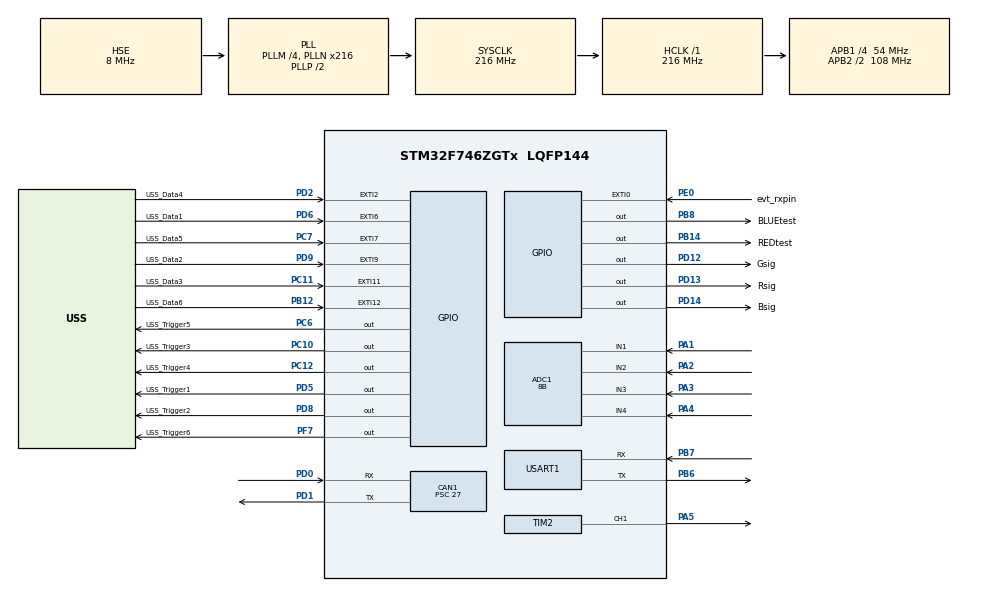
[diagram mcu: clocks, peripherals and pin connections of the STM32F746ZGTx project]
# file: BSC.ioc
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ADC1.Channel-1\#ChannelRegularConversion=ADC_CHANNEL_1
ADC1.Channel-10\#ChannelRegularConversion=ADC_CHANNEL_4
ADC1.Channel-8\#ChannelRegularConversion=ADC_CHANNEL_2
ADC1.Channel-9\#ChannelRegularConversion=ADC_CHANNEL_3
ADC1.ContinuousConvMode=DISABLE
ADC1.DMAContinuousRequests=DISABLE
ADC1.DiscontinuousConvMode=ENABLE
ADC1.EOCSelection=ADC_EOC_SINGLE_CONV
ADC1.InjNumberOfConversion=0
ADC1.NbrOfConversion=4
ADC1.NbrOfConversionFlag=1
ADC1.NbrOfDiscConversion=1
ADC1.Rank-1\#ChannelRegularConversion=1
ADC1.Rank-10\#ChannelRegularConversion=4
ADC1.Rank-8\#ChannelRegularConversion=2
ADC1.Rank-9\#ChannelRegularConversion=3
ADC1.Resolution=ADC_RESOLUTION_8B
ADC1.SamplingTime-1\#ChannelRegularConversion=ADC_SAMPLETIME_15CYCLES
ADC1.SamplingTime-10\#ChannelRegularConversion=ADC_SAMPLETIME_15CYCLES
ADC1.SamplingTime-8\#ChannelRegularConversion=ADC_SAMPLETIME_15CYCLES
ADC1.SamplingTime-9\#ChannelRegularConversion=ADC_SAMPLETIME_15CYCLES
ADC1.ScanConvMode=ADC_SCAN_ENABLE
ADC1.master=1
CAN1.ABOM=ENABLE
CAN1.BS1=CAN_BS1_2TQ
CAN1.CalculateBaudRate=500000
CAN1.CalculateTimeBit=2000
CAN1.CalculateTimeQuantum=500.0
CAN1.NART=ENABLE
CAN1.Prescaler=27
Mcu.Family=STM32F7
Mcu.Name=STM32F746ZGTx
Mcu.Package=LQFP144
NVIC.CAN1_RX0_IRQn=true\:0\:0\:false\:false\:true\:true\:true\:true
NVIC.EXTI15_10_IRQn=true\:0\:0\:false\:false\:true\:true\:true\:true
NVIC.EXTI9_5_IRQn=true\:0\:0\:false\:false\:true\:true\:true\:true
NVIC.PriorityGroup=NVIC_PRIORITYGROUP_4
NVIC.TIM1_BRK_TIM9_IRQn=true\:0\:0\:false\:false\:true\:true\:true\:true
NVIC.TIM5_IRQn=true\:0\:0\:false\:false\:true\:true\:true\:true
NVIC.TIM6_DAC_IRQn=true\:0\:0\:false\:false\:true\:true\:true\:true
NVIC.TIM7_IRQn=true\:0\:0\:false\:false\:true\:true\:true\:true
NVIC.TIM8_TRG_COM_TIM14_IRQn=true\:0\:0\:false\:false\:true\:true\:true\:true
PA1.GPIO_Mode=GPIO_MODE_ANALOG
PA1.GPIO_PuPd=GPIO_NOPULL
PA1.Signal=ADCx_IN1
PA13.Mode=Trace_Asynchronous_SW
PA13.Signal=SYS_JTMS-SWDIO
PA14.Mode=Trace_Asynchronous_SW
PA14.Signal=SYS_JTCK-SWCLK
PA2.GPIO_PuPd=GPIO_NOPULL
PA2.Signal=ADCx_IN2
PA3.GPIO_Mode=GPIO_MODE_ANALOG
PA3.Signal=ADCx_IN3
PA4.GPIO_Mode=GPIO_MODE_ANALOG
PA4.Signal=ADCx_IN4
PA5.Signal=S_TIM2_CH1_ETR
PB12.GPIO_Label=USS_Data6
PB12.GPIO_PuPd=GPIO_PULLUP
PB12.Signal=GPXTI12
PB14.GPIO_Label=REDtest
PB14.Signal=GPIO_Output
PB3.Mode=Trace_Asynchronous_SW
PB3.Signal=SYS_JTDO-SWO
PB6.Mode=Asynchronous
PB6.Signal=USART1_TX
PB7.Mode=Asynchronous
PB7.Signal=USART1_RX
PB8.GPIO_Label=BLUEtest
PB8.Signal=GPIO_Output
PC10.GPIO_Label=USS_Trigger3
PC10.Signal=GPIO_Output
PC11.GPIO_Label=USS_Data3
PC11.GPIO_PuPd=GPIO_PULLUP
PC11.Signal=GPXTI11
PC12.GPIO_Label=USS_Trigger4
PC12.Signal=GPIO_Output
PC6.GPIO_Label=USS_Trigger5
PC6.Signal=GPIO_Output
PC7.GPIO_Label=USS_Data5
PC7.GPIO_PuPd=GPIO_PULLUP
PC7.Signal=GPXTI7
PD0.Mode=CAN_Activate
PD0.Signal=CAN1_RX
PD1.Mode=CAN_Activate
PD1.Signal=CAN1_TX
PD12.GPIO_Label=Gsig
PD12.Signal=GPIO_Output
PD13.GPIO_Label=Rsig
PD13.Signal=GPIO_Output
PD14.GPIO_Label=Bsig
PD14.Signal=GPIO_Output
PD2.GPIO_Label=USS_Data4
PD2.GPIO_PuPd=GPIO_PULLUP
PD2.Signal=GPXTI2
PD5.GPIO_Label=USS_Trigger1
PD5.Signal=GPIO_Output
PD6.GPIO_Label=USS_Data1
PD6.GPIO_ModeDefaultEXTI=GPIO_MODE_IT_RISING
PD6.GPIO_PuPd=GPIO_PULLUP
PD6.Signal=GPXTI6
PD8.GPIO_Label=USS_Trigger2
PD8.Signal=GPIO_Output
PD9.GPIO_Label=USS_Data2
PD9.GPIO_PuPd=GPIO_PULLUP
PD9.Signal=GPXTI9
PE0.GPIO_Label=evt_rxpin
PE0.GPIO_ModeDefaultEXTI=GPIO_MODE_IT_RISING_FALLING
PE0.GPIO_PuPd=GPIO_PULLUP
PE0.Signal=GPXTI0
PF7.GPIO_Label=USS_Trigger6
PF7.Signal=GPIO_Output
PH0/OSC_IN.Mode=HSE-External-Clock-Source
PH0/OSC_IN.Signal=RCC_OSC_IN
PH1/OSC_OUT.Mode=HSE-External-Clock-Source
PH1/OSC_OUT.Signal=RCC_OSC_OUT
ProjectManager.HeapSize=0x200
ProjectManager.StackSize=0x400
ProjectManager.TargetToolchain=STM32CubeIDE
RCC.AHBFreq_Value=216000000
RCC.APB1CLKDivider=RCC_HCLK_DIV4
RCC.APB1Freq_Value=54000000
RCC.APB1TimFreq_Value=108000000
RCC.APB2CLKDivider=RCC_HCLK_DIV2
RCC.APB2Freq_Value=108000000
RCC.APB2TimFreq_Value=216000000
RCC.CortexFreq_Value=216000000
RCC.HCLKFreq_Value=216000000
RCC.HSE_VALUE=8000000
RCC.HSI_VALUE=16000000
RCC.LSE_VALUE=32768
RCC.PLLI2SN=50
RCC.PLLM=4
RCC.PLLN=216
RCC.PLLSAIN=50
RCC.PLLSourceVirtual=RCC_PLLSOURCE_HSE
RCC.RTCClockSelection=RCC_RTCCLKSOURCE_LSE
RCC.SYSCLKFreq_VALUE=216000000
RCC.SYSCLKSource=RCC_SYSCLKSOURCE_PLLCLK
RCC.USBFreq_Value=216000000
RCC.VCOOutputFreq_Value=432000000
SH.ADCx_IN1.0=ADC1_IN1,IN1
SH.ADCx_IN2.0=ADC1_IN2,IN2
SH.ADCx_IN3.0=ADC1_IN3,IN3
SH.ADCx_IN4.0=ADC1_IN4,IN4
SH.S_TIM2_CH1_ETR.0=TIM2_CH1,PWM Generation1 CH1
TIM14.Period=4-1
TIM14.Prescaler=108-1
TIM2.Channel-PWM\ Generation1\ CH1=TIM_CHANNEL_1
TIM2.Period=105-1
TIM2.Prescaler=27-1
TIM2.Pulse-PWM\ Generation1\ CH1=52-1
TIM5.ClockDivision=TIM_CLOCKDIVISION_DIV1
TIM5.Period=100-1
TIM5.Prescaler=54-1
TIM6.Period=10000-1
TIM6.Prescaler=108-1
TIM7.Period=1000-1
TIM7.Prescaler=108-1
TIM9.Period=562-1
TIM9.Prescaler=216-1
USART1.VirtualMode-Asynchronous=VM_ASYNC
VP_TIM14_VS_ClockSourceINT.Mode=Enable_Timer
VP_TIM2_VS_ClockSourceINT.Mode=Internal
VP_TIM5_VS_ClockSourceINT.Mode=Internal
VP_TIM6_VS_ClockSourceINT.Mode=Enable_Timer
VP_TIM7_VS_ClockSourceINT.Mode=Enable_Timer
VP_TIM9_VS_ClockSourceINT.Mode=Internal
board=custom

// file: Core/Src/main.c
/* USER CODE BEGIN Header */
/**
  ******************************************************************************
  * @file           : main.c
  * @brief          : Main program body
  ******************************************************************************
  * @attention
  *
  * Copyright (c) 2022 STMicroelectronics.
  * All rights reserved.
  *
  * This software is licensed under terms that can be found in the LICENSE file
  * in the root directory of this software component.
  * If no LICENSE file comes with this software, it is provided AS-IS.
  *
  ******************************************************************************
  */
/* USER CODE END Header */
#include "main.h"

/* USER CODE BEGIN Includes */
#include "SCI_bottom.h"
/* USER CODE END Includes */

/* USER CODE BEGIN PM */
  uint16_t FDval[4]={0,};
/* USER CODE END PM */

 ADC_HandleTypeDef hadc1;

CAN_HandleTypeDef hcan1;

TIM_HandleTypeDef htim2;
TIM_HandleTypeDef htim5;
TIM_HandleTypeDef htim6;
TIM_HandleTypeDef htim7;
TIM_HandleTypeDef htim9;
TIM_HandleTypeDef htim14;

UART_HandleTypeDef huart1;

void SystemClock_Config(void);
static void MX_GPIO_Init(void);
static void MX_USART1_UART_Init(void);
static void MX_CAN1_Init(void);
static void MX_TIM2_Init(void);
static void MX_TIM6_Init(void);
static void MX_TIM7_Init(void);
static void MX_TIM5_Init(void);
static void MX_TIM14_Init(void);
static void MX_TIM9_Init(void);
static void MX_ADC1_Init(void);

/* USER CODE BEGIN 0 */
///for printf, must declare in main.c/////
int _write(int file, char *ptr, int len)
{
	HAL_UART_Transmit(&huart1, (uint8_t *)ptr, (uint16_t)len, 100);
	return (len);
}

//int _write(int file, char *ptr, int len)
//{
//	for(int i = 0; i < len; i++)
//	{
//		ITM_SendChar(*ptr++);
//	}
//	return len;
//}

uint8_t rx_data[5]={0,};
uint8_t testflag;

//void HAL_UART_RxCpltCallback(UART_HandleTypeDef *huart) {//imu
//	if (huart->Instance == UART8) {
//		HAL_UART_Receive_IT(&huart8, rx_data, 4);
//		testflag = 1;
//	}
//}

///////////////////////////////////////////
/* USER CODE END 0 */

int main(void)
{

  /* MCU Configuration--------------------------------------------------------*/

  /* Reset of all peripherals, Initializes the Flash interface and the Systick. */
  HAL_Init();

  /* Configure the system clock */
   SystemClock_Config();

  /* Initialize all configured peripherals */
  MX_GPIO_Init();
  MX_USART1_UART_Init();
  MX_CAN1_Init();
  MX_TIM2_Init();
  MX_TIM6_Init();
  MX_TIM7_Init();
  MX_TIM5_Init();
  MX_TIM14_Init();
  MX_TIM9_Init();
  MX_ADC1_Init();
  /* USER CODE BEGIN 2 */
  HAL_NVIC_SetPriority(EXTI2_IRQn, 0, 0);//direct set
  HAL_NVIC_EnableIRQ(EXTI2_IRQn);//direct set
  HAL_NVIC_SetPriority(EXTI0_IRQn, 0, 0);//direct set
  HAL_NVIC_EnableIRQ(EXTI0_IRQn);//direct set

  HAL_TIM_PWM_Start_IT(&htim2, TIM_CHANNEL_1);//38khz ir transmit pwm
  htim2.Instance->CCR1 = 52;

  //HAL_TIM_Base_Start_IT (&htim3);//system timer
  HAL_TIM_Base_Start_IT (&htim5);//uss timer, 200khz
  HAL_TIM_Base_Start_IT (&htim6);//system timer, 100hz
  //HAL_TIM_Base_Start_IT (&htim7);//uss timer, 1khz
  HAL_TIM_Base_Start_IT (&htim9);//uss timer, 1779hz
  //HAL_TIM_Base_Start_IT (&htim14);//IR NEC timer, 1Mhz

  //HAL_ADC_Start_DMA(&hadc1, adcval, 4);
   // HAL_ADC_Start_DMA(&hadc1, FDval, 4);
//  printf("temp: %d\n", temp);
//  HAL_Delay(200);

//  HAL_TIMEx_OCN_Start(&htim2, TIM_CHANNEL_1);

//  HAL_UART_Receive_IT(&huart8, rx_data, 2);
  /* USER CODE END 2 */

  /* Infinite loop */
  while (1)
  {

    /* USER CODE BEGIN 3 */

	  //printf("swo printfhihi\n");
	  //HAL_Delay(500);
//	    HAL_ADC_Start(&hadc1);
//	    HAL_ADC_PollForConversion(&hadc1, 100);
//	    FDval[0] = HAL_ADC_GetValue(&hadc1);
//		HAL_Delay(100);
//	    HAL_ADC_Start(&hadc1);
//	    HAL_ADC_PollForConversion(&hadc1, 100);
//	    FDval[1] = HAL_ADC_GetValue(&hadc1);
//		HAL_Delay(100);
//	    HAL_ADC_Start(&hadc1);
//	    HAL_ADC_PollForConversion(&hadc1, 100);
//	    FDval[2] = HAL_ADC_GetValue(&hadc1);
//		HAL_Delay(100);
//	    HAL_ADC_Start(&hadc1);
//	    HAL_ADC_PollForConversion(&hadc1, 100);
//	    FDval[3] = HAL_ADC_GetValue(&hadc1);
//		HAL_Delay(100);
//	    HAL_ADC_Stop(&hadc1);
//
//	  printf("FDval: %d %d %d %d\n", FDval[0], FDval[1], FDval[2], FDval[3]);
//	  HAL_Delay(100);
//	  printf("%d %d %d %d\n", adcval[0], adcval[1], adcval[2], adcval[3]);
	  //HAL_GPIO_TogglePin(REDtest_GPIO_Port, REDtest_Pin);
//	  if(testflag == 1){HAL_GPIO_TogglePin(BLUEtest_GPIO_Port, BLUEtest_Pin);testflag=0;}
	  //printf("SystemCoreClock is %d Hz\r\n", SystemCoreClock);
	  //HAL_Delay(200);
	  spinonce();

  }
  /* USER CODE END 3 */
}

void SystemClock_Config(void)
{
  RCC_OscInitTypeDef RCC_OscInitStruct = {0};
  RCC_ClkInitTypeDef RCC_ClkInitStruct = {0};

  /** Configure the main internal regulator output voltage
  */
  __HAL_RCC_PWR_CLK_ENABLE();
  __HAL_PWR_VOLTAGESCALING_CONFIG(PWR_REGULATOR_VOLTAGE_SCALE1);

  /** Initializes the RCC Oscillators according to the specified parameters
  * in the RCC_OscInitTypeDef structure.
  */
  RCC_OscInitStruct.OscillatorType = RCC_OSCILLATORTYPE_HSE;
  RCC_OscInitStruct.HSEState = RCC_HSE_BYPASS;
  RCC_OscInitStruct.PLL.PLLState = RCC_PLL_ON;
  RCC_OscInitStruct.PLL.PLLSource = RCC_PLLSOURCE_HSE;
  RCC_OscInitStruct.PLL.PLLM = 4;
  RCC_OscInitStruct.PLL.PLLN = 216;
  RCC_OscInitStruct.PLL.PLLP = RCC_PLLP_DIV2;
  RCC_OscInitStruct.PLL.PLLQ = 2;
  if (HAL_RCC_OscConfig(&RCC_OscInitStruct) != HAL_OK)
  {
    Error_Handler();
  }

  /** Activate the Over-Drive mode
  */
  if (HAL_PWREx_EnableOverDrive() != HAL_OK)
  {
    Error_Handler();
  }

  /** Initializes the CPU, AHB and APB buses clocks
  */
  RCC_ClkInitStruct.ClockType = RCC_CLOCKTYPE_HCLK|RCC_CLOCKTYPE_SYSCLK
                              |RCC_CLOCKTYPE_PCLK1|RCC_CLOCKTYPE_PCLK2;
  RCC_ClkInitStruct.SYSCLKSource = RCC_SYSCLKSOURCE_PLLCLK;
  RCC_ClkInitStruct.AHBCLKDivider = RCC_SYSCLK_DIV1;
  RCC_ClkInitStruct.APB1CLKDivider = RCC_HCLK_DIV4;
  RCC_ClkInitStruct.APB2CLKDivider = RCC_HCLK_DIV2;

  if (HAL_RCC_ClockConfig(&RCC_ClkInitStruct, FLASH_LATENCY_7) != HAL_OK)
  {
    Error_Handler();
  }
}

static void MX_ADC1_Init(void)
{

  ADC_ChannelConfTypeDef sConfig = {0};

  /** Configure the global features of the ADC (Clock, Resolution, Data Alignment and number of conversion)
  */
  hadc1.Instance = ADC1;
  hadc1.Init.ClockPrescaler = ADC_CLOCK_SYNC_PCLK_DIV4;
  hadc1.Init.Resolution = ADC_RESOLUTION_8B;
  hadc1.Init.ScanConvMode = ADC_SCAN_ENABLE;
  hadc1.Init.ContinuousConvMode = DISABLE;
  hadc1.Init.DiscontinuousConvMode = ENABLE;
  hadc1.Init.NbrOfDiscConversion = 1;
  hadc1.Init.ExternalTrigConvEdge = ADC_EXTERNALTRIGCONVEDGE_NONE;
  hadc1.Init.ExternalTrigConv = ADC_SOFTWARE_START;
  hadc1.Init.DataAlign = ADC_DATAALIGN_RIGHT;
  hadc1.Init.NbrOfConversion = 4;
  hadc1.Init.DMAContinuousRequests = DISABLE;
  hadc1.Init.EOCSelection = ADC_EOC_SINGLE_CONV;
  if (HAL_ADC_Init(&hadc1) != HAL_OK)
  {
    Error_Handler();
  }

  /** Configure for the selected ADC regular channel its corresponding rank in the sequencer and its sample time.
  */
  sConfig.Channel = ADC_CHANNEL_1;
  sConfig.Rank = ADC_REGULAR_RANK_1;
  sConfig.SamplingTime = ADC_SAMPLETIME_15CYCLES;
  if (HAL_ADC_ConfigChannel(&hadc1, &sConfig) != HAL_OK)
  {
    Error_Handler();
  }

  /** Configure for the selected ADC regular channel its corresponding rank in the sequencer and its sample time.
  */
  sConfig.Channel = ADC_CHANNEL_2;
  sConfig.Rank = ADC_REGULAR_RANK_2;
  if (HAL_ADC_ConfigChannel(&hadc1, &sConfig) != HAL_OK)
  {
    Error_Handler();
  }

  /** Configure for the selected ADC regular channel its corresponding rank in the sequencer and its sample time.
  */
  sConfig.Channel = ADC_CHANNEL_3;
  sConfig.Rank = ADC_REGULAR_RANK_3;
  if (HAL_ADC_ConfigChannel(&hadc1, &sConfig) != HAL_OK)
  {
    Error_Handler();
  }

  /** Configure for the selected ADC regular channel its corresponding rank in the sequencer and its sample time.
  */
  sConfig.Channel = ADC_CHANNEL_4;
  sConfig.Rank = ADC_REGULAR_RANK_4;
  if (HAL_ADC_ConfigChannel(&hadc1, &sConfig) != HAL_OK)
  {
    Error_Handler();
  }

}

static void MX_CAN1_Init(void)
{

  hcan1.Instance = CAN1;
  hcan1.Init.Prescaler = 27;
  hcan1.Init.Mode = CAN_MODE_NORMAL;
  hcan1.Init.SyncJumpWidth = CAN_SJW_1TQ;
  hcan1.Init.TimeSeg1 = CAN_BS1_2TQ;
  hcan1.Init.TimeSeg2 = CAN_BS2_1TQ;
  hcan1.Init.TimeTriggeredMode = DISABLE;
  hcan1.Init.AutoBusOff = ENABLE;
  hcan1.Init.AutoWakeUp = DISABLE;
  hcan1.Init.AutoRetransmission = ENABLE;
  hcan1.Init.ReceiveFifoLocked = DISABLE;
  hcan1.Init.TransmitFifoPriority = DISABLE;
  if (HAL_CAN_Init(&hcan1) != HAL_OK)
  {
    Error_Handler();
  }

}

static void MX_TIM2_Init(void)
{

  TIM_ClockConfigTypeDef sClockSourceConfig = {0};
  TIM_MasterConfigTypeDef sMasterConfig = {0};
  TIM_OC_InitTypeDef sConfigOC = {0};

  htim2.Instance = TIM2;
  htim2.Init.Prescaler = 27-1;
  htim2.Init.CounterMode = TIM_COUNTERMODE_UP;
  htim2.Init.Period = 105-1;
  htim2.Init.ClockDivision = TIM_CLOCKDIVISION_DIV1;
  htim2.Init.AutoReloadPreload = TIM_AUTORELOAD_PRELOAD_DISABLE;
  if (HAL_TIM_Base_Init(&htim2) != HAL_OK)
  {
    Error_Handler();
  }
  sClockSourceConfig.ClockSource = TIM_CLOCKSOURCE_INTERNAL;
  if (HAL_TIM_ConfigClockSource(&htim2, &sClockSourceConfig) != HAL_OK)
  {
    Error_Handler();
  }
  if (HAL_TIM_PWM_Init(&htim2) != HAL_OK)
  {
    Error_Handler();
  }
  sMasterConfig.MasterOutputTrigger = TIM_TRGO_RESET;
  sMasterConfig.MasterSlaveMode = TIM_MASTERSLAVEMODE_DISABLE;
  if (HAL_TIMEx_MasterConfigSynchronization(&htim2, &sMasterConfig) != HAL_OK)
  {
    Error_Handler();
  }
  sConfigOC.OCMode = TIM_OCMODE_PWM1;
  sConfigOC.Pulse = 52-1;
  sConfigOC.OCPolarity = TIM_OCPOLARITY_HIGH;
  sConfigOC.OCFastMode = TIM_OCFAST_DISABLE;
  if (HAL_TIM_PWM_ConfigChannel(&htim2, &sConfigOC, TIM_CHANNEL_1) != HAL_OK)
  {
    Error_Handler();
  }
  HAL_TIM_MspPostInit(&htim2);

}

static void MX_TIM5_Init(void)
{

  TIM_ClockConfigTypeDef sClockSourceConfig = {0};
  TIM_MasterConfigTypeDef sMasterConfig = {0};

  htim5.Instance = TIM5;
  htim5.Init.Prescaler = 54-1;
  htim5.Init.CounterMode = TIM_COUNTERMODE_UP;
  htim5.Init.Period = 100-1;
  htim5.Init.ClockDivision = TIM_CLOCKDIVISION_DIV1;
  htim5.Init.AutoReloadPreload = TIM_AUTORELOAD_PRELOAD_DISABLE;
  if (HAL_TIM_Base_Init(&htim5) != HAL_OK)
  {
    Error_Handler();
  }
  sClockSourceConfig.ClockSource = TIM_CLOCKSOURCE_INTERNAL;
  if (HAL_TIM_ConfigClockSource(&htim5, &sClockSourceConfig) != HAL_OK)
  {
    Error_Handler();
  }
  sMasterConfig.MasterOutputTrigger = TIM_TRGO_RESET;
  sMasterConfig.MasterSlaveMode = TIM_MASTERSLAVEMODE_DISABLE;
  if (HAL_TIMEx_MasterConfigSynchronization(&htim5, &sMasterConfig) != HAL_OK)
  {
    Error_Handler();
  }

}

static void MX_TIM6_Init(void)
{

  TIM_MasterConfigTypeDef sMasterConfig = {0};

  htim6.Instance = TIM6;
  htim6.Init.Prescaler = 108-1;
  htim6.Init.CounterMode = TIM_COUNTERMODE_UP;
  htim6.Init.Period = 10000-1;
  htim6.Init.AutoReloadPreload = TIM_AUTORELOAD_PRELOAD_DISABLE;
  if (HAL_TIM_Base_Init(&htim6) != HAL_OK)
  {
    Error_Handler();
  }
  sMasterConfig.MasterOutputTrigger = TIM_TRGO_RESET;
  sMasterConfig.MasterSlaveMode = TIM_MASTERSLAVEMODE_DISABLE;
  if (HAL_TIMEx_MasterConfigSynchronization(&htim6, &sMasterConfig) != HAL_OK)
  {
    Error_Handler();
  }

}

static void MX_TIM7_Init(void)
{

  TIM_MasterConfigTypeDef sMasterConfig = {0};

  htim7.Instance = TIM7;
  htim7.Init.Prescaler = 108-1;
  htim7.Init.CounterMode = TIM_COUNTERMODE_UP;
  htim7.Init.Period = 1000-1;
  htim7.Init.AutoReloadPreload = TIM_AUTORELOAD_PRELOAD_DISABLE;
  if (HAL_TIM_Base_Init(&htim7) != HAL_OK)
  {
    Error_Handler();
  }
  sMasterConfig.MasterOutputTrigger = TIM_TRGO_RESET;
  sMasterConfig.MasterSlaveMode = TIM_MASTERSLAVEMODE_DISABLE;
  if (HAL_TIMEx_MasterConfigSynchronization(&htim7, &sMasterConfig) != HAL_OK)
  {
    Error_Handler();
  }

}

static void MX_TIM9_Init(void)
{

  TIM_ClockConfigTypeDef sClockSourceConfig = {0};

  htim9.Instance = TIM9;
  htim9.Init.Prescaler = 216-1;
  htim9.Init.CounterMode = TIM_COUNTERMODE_UP;
  htim9.Init.Period = 562-1;
  htim9.Init.ClockDivision = TIM_CLOCKDIVISION_DIV1;
  htim9.Init.AutoReloadPreload = TIM_AUTORELOAD_PRELOAD_DISABLE;
  if (HAL_TIM_Base_Init(&htim9) != HAL_OK)
  {
    Error_Handler();
  }
  sClockSourceConfig.ClockSource = TIM_CLOCKSOURCE_INTERNAL;
  if (HAL_TIM_ConfigClockSource(&htim9, &sClockSourceConfig) != HAL_OK)
  {
    Error_Handler();
  }

}

static void MX_TIM14_Init(void)
{

  htim14.Instance = TIM14;
  htim14.Init.Prescaler = 108-1;
  htim14.Init.CounterMode = TIM_COUNTERMODE_UP;
  htim14.Init.Period = 4-1;
  htim14.Init.ClockDivision = TIM_CLOCKDIVISION_DIV1;
  htim14.Init.AutoReloadPreload = TIM_AUTORELOAD_PRELOAD_DISABLE;
  if (HAL_TIM_Base_Init(&htim14) != HAL_OK)
  {
    Error_Handler();
  }

}

static void MX_USART1_UART_Init(void)
{

  huart1.Instance = USART1;
  huart1.Init.BaudRate = 115200;
  huart1.Init.WordLength = UART_WORDLENGTH_8B;
  huart1.Init.StopBits = UART_STOPBITS_1;
  huart1.Init.Parity = UART_PARITY_NONE;
  huart1.Init.Mode = UART_MODE_TX_RX;
  huart1.Init.HwFlowCtl = UART_HWCONTROL_NONE;
  huart1.Init.OverSampling = UART_OVERSAMPLING_16;
  huart1.Init.OneBitSampling = UART_ONE_BIT_SAMPLE_DISABLE;
  huart1.AdvancedInit.AdvFeatureInit = UART_ADVFEATURE_NO_INIT;
  if (HAL_UART_Init(&huart1) != HAL_OK)
  {
    Error_Handler();
  }

}

static void MX_GPIO_Init(void)
{
  GPIO_InitTypeDef GPIO_InitStruct = {0};

  /* GPIO Ports Clock Enable */
  __HAL_RCC_GPIOF_CLK_ENABLE();
  __HAL_RCC_GPIOH_CLK_ENABLE();
  __HAL_RCC_GPIOA_CLK_ENABLE();
  __HAL_RCC_GPIOB_CLK_ENABLE();
  __HAL_RCC_GPIOD_CLK_ENABLE();
  __HAL_RCC_GPIOC_CLK_ENABLE();
  __HAL_RCC_GPIOE_CLK_ENABLE();

  /*Configure GPIO pin Output Level */
  HAL_GPIO_WritePin(USS_Trigger6_GPIO_Port, USS_Trigger6_Pin, GPIO_PIN_RESET);

  /*Configure GPIO pin Output Level */
  HAL_GPIO_WritePin(GPIOB, REDtest_Pin|BLUEtest_Pin, GPIO_PIN_RESET);

  /*Configure GPIO pin Output Level */
  HAL_GPIO_WritePin(GPIOD, USS_Trigger2_Pin|Gsig_Pin|Rsig_Pin|Bsig_Pin
                          |USS_Trigger1_Pin, GPIO_PIN_RESET);

  /*Configure GPIO pin Output Level */
  HAL_GPIO_WritePin(GPIOC, USS_Trigger5_Pin|USS_Trigger3_Pin|USS_Trigger4_Pin, GPIO_PIN_RESET);

  /*Configure GPIO pin : USS_Trigger6_Pin */
  GPIO_InitStruct.Pin = USS_Trigger6_Pin;
  GPIO_InitStruct.Mode = GPIO_MODE_OUTPUT_PP;
  GPIO_InitStruct.Pull = GPIO_NOPULL;
  GPIO_InitStruct.Speed = GPIO_SPEED_FREQ_LOW;
  HAL_GPIO_Init(USS_Trigger6_GPIO_Port, &GPIO_InitStruct);

  /*Configure GPIO pin : USS_Data6_Pin */
  GPIO_InitStruct.Pin = USS_Data6_Pin;
  GPIO_InitStruct.Mode = GPIO_MODE_IT_RISING;
  GPIO_InitStruct.Pull = GPIO_PULLUP;
  HAL_GPIO_Init(USS_Data6_GPIO_Port, &GPIO_InitStruct);

  /*Configure GPIO pins : REDtest_Pin BLUEtest_Pin */
  GPIO_InitStruct.Pin = REDtest_Pin|BLUEtest_Pin;
  GPIO_InitStruct.Mode = GPIO_MODE_OUTPUT_PP;
  GPIO_InitStruct.Pull = GPIO_NOPULL;
  GPIO_InitStruct.Speed = GPIO_SPEED_FREQ_LOW;
  HAL_GPIO_Init(GPIOB, &GPIO_InitStruct);

  /*Configure GPIO pins : USS_Trigger2_Pin Gsig_Pin Rsig_Pin Bsig_Pin
                           USS_Trigger1_Pin */
  GPIO_InitStruct.Pin = USS_Trigger2_Pin|Gsig_Pin|Rsig_Pin|Bsig_Pin
                          |USS_Trigger1_Pin;
  GPIO_InitStruct.Mode = GPIO_MODE_OUTPUT_PP;
  GPIO_InitStruct.Pull = GPIO_NOPULL;
  GPIO_InitStruct.Speed = GPIO_SPEED_FREQ_LOW;
  HAL_GPIO_Init(GPIOD, &GPIO_InitStruct);

  /*Configure GPIO pins : USS_Data2_Pin USS_Data4_Pin USS_Data1_Pin */
  GPIO_InitStruct.Pin = USS_Data2_Pin|USS_Data4_Pin|USS_Data1_Pin;
  GPIO_InitStruct.Mode = GPIO_MODE_IT_RISING;
  GPIO_InitStruct.Pull = GPIO_PULLUP;
  HAL_GPIO_Init(GPIOD, &GPIO_InitStruct);

  /*Configure GPIO pins : USS_Trigger5_Pin USS_Trigger3_Pin USS_Trigger4_Pin */
  GPIO_InitStruct.Pin = USS_Trigger5_Pin|USS_Trigger3_Pin|USS_Trigger4_Pin;
  GPIO_InitStruct.Mode = GPIO_MODE_OUTPUT_PP;
  GPIO_InitStruct.Pull = GPIO_NOPULL;
  GPIO_InitStruct.Speed = GPIO_SPEED_FREQ_LOW;
  HAL_GPIO_Init(GPIOC, &GPIO_InitStruct);

  /*Configure GPIO pins : USS_Data5_Pin USS_Data3_Pin */
  GPIO_InitStruct.Pin = USS_Data5_Pin|USS_Data3_Pin;
  GPIO_InitStruct.Mode = GPIO_MODE_IT_RISING;
  GPIO_InitStruct.Pull = GPIO_PULLUP;
  HAL_GPIO_Init(GPIOC, &GPIO_InitStruct);

  /*Configure GPIO pin : evt_rxpin_Pin */
  GPIO_InitStruct.Pin = evt_rxpin_Pin;
  GPIO_InitStruct.Mode = GPIO_MODE_IT_RISING_FALLING;
  GPIO_InitStruct.Pull = GPIO_PULLUP;
  HAL_GPIO_Init(evt_rxpin_GPIO_Port, &GPIO_InitStruct);

  /* EXTI interrupt init*/
  HAL_NVIC_SetPriority(EXTI9_5_IRQn, 0, 0);
  HAL_NVIC_EnableIRQ(EXTI9_5_IRQn);

  HAL_NVIC_SetPriority(EXTI15_10_IRQn, 0, 0);
  HAL_NVIC_EnableIRQ(EXTI15_10_IRQn);

}

void Error_Handler(void)
{
  __disable_irq();
  while (1)
  {
  }
}
